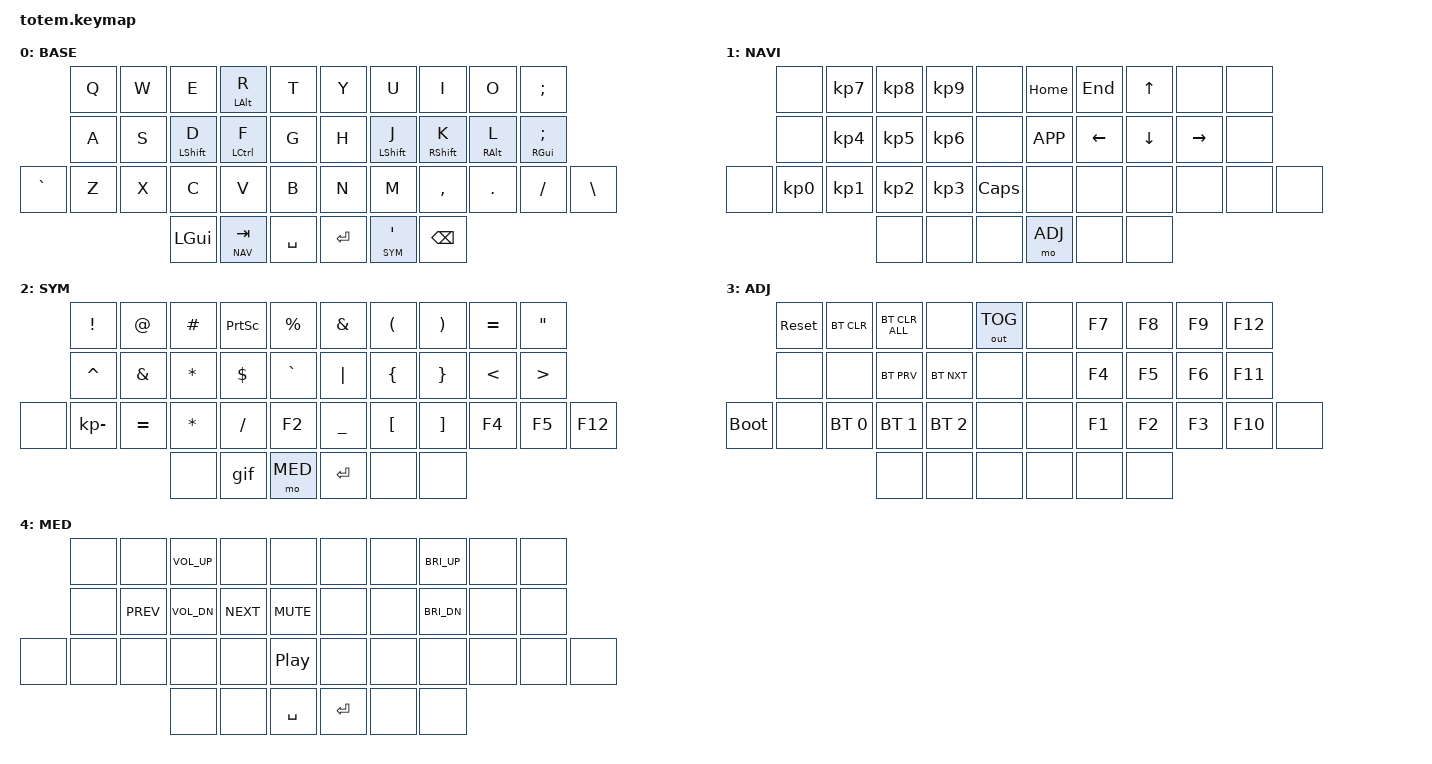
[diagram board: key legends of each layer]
//
//                                                        ▀▀▀▀▀     ▀▀▀▀▀          ▀▀█▀▀
//                                                        ▄▀▀▀▄  ▄  ▄▀▀▀▄  ▄  ▄▀▀▀▄  █  ▄▀▀▀▄
//                                                        █   █  █  █   █  █  █   █  █  █   █
//                                                         ▀▀▀   █   ▀▀▀   █   ▀▀▀   ▀   ▀▀▀
//                                                               █      ▄▄▄█▄▄▄    █   █  
//                                                               ▀      █  █  █     █▄█
//                                                             ▀▀▀▀▀    █  █  █      ▀
//                                                                      ▀  ▀  ▀
//
// ▄▄▄▄▄▄▄▄▄▄▄▄▄▄▄▄▄▄▄▄▄▄▄▄▄▄▄▄▄▄▄▄▄▄▄▄▄▄▄▄▄▄▄▄▄▄▄▄▄▄▄▄▄▄▄▄▄▄▄▄▄▄▄▄▄▄▄▄▄▄▄▄▄▄▄▄▄▄▄▄▄▄▄▄▄▄▄▄▄▄▄▄▄▄▄▄▄▄▄▄▄▄▄▄▄▄▄▄▄▄▄▄▄▄▄▄▄▄▄▄▄▄▄▄▄▄▄▄▄▄▄▄▄▄▄▄▄▄▄▄▄▄▄▄▄▄▄▄▄
       

#include <behaviors.dtsi>
#include <dt-bindings/zmk/keys.h>
#include <dt-bindings/zmk/bt.h>
#include <dt-bindings/zmk/outputs.h>

#define BASE 0
#define NAV  1
#define SYM  2
#define ADJ  3
#define MED  4

&mt {
  quick-tap-ms = <100>;
  global-quick-tap;
  flavor = "tap-preferred";
  tapping-term-ms = <170>;
};

/ {
    combos {
            compatible = "zmk,combos";
            combo_esc {
                timeout-ms = <50>;
                key-positions = <0 1>;
                bindings = <&kp ESC>;
            };
    };

    macros {
        gif: gif {
            label = "giphy";
            compatible = "zmk,behavior-macro";
            #binding-cells = <0>;
            bindings
                = <&macro_press &kp LSHFT>
                , <&macro_tap &kp N2>
                , <&macro_release &kp LSHFT>
                , <&macro_tap &kp G &kp I &kp F>
                ;
        };
    };

        keymap {
                compatible = "zmk,keymap";
// ▄▄▄▄▄▄▄▄▄▄▄▄▄▄▄▄▄▄▄▄▄▄▄▄▄▄▄▄▄▄▄▄▄▄▄▄▄▄▄▄▄▄▄▄▄▄▄▄▄▄▄▄▄▄▄▄▄▄▄▄▄▄▄▄▄▄▄▄▄▄▄▄▄▄▄▄▄▄▄▄▄▄▄▄▄▄▄▄▄▄▄▄▄▄▄▄▄▄▄▄▄▄▄▄▄▄▄▄▄▄▄▄▄▄▄▄▄▄▄▄▄▄▄▄▄▄▄▄▄▄▄▄▄▄▄▄▄▄▄▄▄▄▄▄▄▄▄▄▄

                base_layer {
// ┏━━━━━━━━━━━━━━━━━━━━━━━━━━━━━━━━━━━━━━━┓
label= "BASE"                              ;
// ┗━━━━━━━━━━━━━━━━━━━━━━━━━━━━━━━━━━━━━━━┛
//             ┏━━━━━━━━━━━┳━━━━━━━━━━━┳━━━━━━━━━━━┳━━━━━━━━━━━┳━━━━━━━━━━━┓   ┏━━━━━━━━━━━┳━━━━━━━━━━━┳━━━━━━━━━━━┳━━━━━━━━━━━┳━━━━━━━━━━━┓
//             ┃     Q     ┃     W     ┃     E     ┃     R     ┃     T     ┃   ┃     Y     ┃     U     ┃     I     ┃     O     ┃     P     ┃
//             ┣━━━━━━━━━━━╋━━━━━━━━━━━╋━━━━━━━━━━━╋━━━━━━━━━━━╋━━━━━━━━━━━┫   ┣━━━━━━━━━━━╋━━━━━━━━━━━╋━━━━━━━━━━━╋━━━━━━━━━━━╋━━━━━━━━━━━┫
//             ┃     A     ┃     S     ┃     D     ┃     F     ┃     G     ┃   ┃     H     ┃     J     ┃     K     ┃     L     ┃     ;     ┃
// ┏━━━━━━━━━━━╋━━━━━━━━━━━╋━━━━━━━━━━━╋━━━━━━━━━━━╋━━━━━━━━━━━╋━━━━━━━━━━━┫   ┣━━━━━━━━━━━╋━━━━━━━━━━━╋━━━━━━━━━━━╋━━━━━━━━━━━╋━━━━━━━━━━━╋━━━━━━━━━━━┓
// ┃     `     ┃     Z     ┃     X     ┃     C     ┃     V     ┃     B     ┃   ┃     N     ┃     M     ┃     ,     ┃     .     ┃     /     ┃     \     ┃
// ┗━━━━━━━━━━━┻━━━━━━━━━━━┻━━━━━━━━━━━╋━━━━━━━━━━━╋━━━━━━━━━━━╋━━━━━━━━━━━┫   ┣━━━━━━━━━━━╋━━━━━━━━━━━╋━━━━━━━━━━━╋━━━━━━━━━━━┻━━━━━━━━━━━┻━━━━━━━━━━━┛
//                                     ┃    WIN    ┃    TAB    ┃    SPC    ┃   ┃   ENTER   ┃     '     ┃    BSPC   ┃
//                                     ┗━━━━━━━━━━━┻━━━━━━━━━━━┻━━━━━━━━━━━┛   ┗━━━━━━━━━━━┻━━━━━━━━━━━┻━━━━━━━━━━━┛
 bindings = <
// ╷           ╷           ╷           ╷           ╷           ╷           ╷   ╷           ╷           ╷           ╷           ╷           ╷           ╷

                &kp Q       &kp W       &kp E       &mt LALT R   &kp T           &kp Y       &kp U       &kp I       &kp O       &kp SEMI
                &kp A       &kp S       &mt LSHFT D  &mt LCTRL F  &kp G          &kp H       &mt LSHFT J &mt RSHFT K &mt RALT L  &mt RGUI SEMI
    &kp GRAVE   &kp Z       &kp X       &kp C       &kp V        &kp B           &kp N       &kp M       &kp COMMA   &kp DOT     &kp FSLH    &kp BSLH
                                        &kp LGUI    &lt NAV TAB  &kp SPACE       &kp RET     &lt SYM APOS  &kp BSPC
                        >;
                };

// ▄▄▄▄▄▄▄▄▄▄▄▄▄▄▄▄▄▄▄▄▄▄▄▄▄▄▄▄▄▄▄▄▄▄▄▄▄▄▄▄▄▄▄▄▄▄▄▄▄▄▄▄▄▄▄▄▄▄▄▄▄▄▄▄▄▄▄▄▄▄▄▄▄▄▄▄▄▄▄▄▄▄▄▄▄▄▄▄▄▄▄▄▄▄▄▄▄▄▄▄▄▄▄▄▄▄▄▄▄▄▄▄▄▄▄▄▄▄▄▄▄▄▄▄▄▄▄▄▄▄▄▄▄▄▄▄▄▄▄▄▄▄▄▄▄▄▄▄▄


                nav_layer {
// ┏━━━━━━━━━━━━━━━━━━━━━━━━━━━━━━━━━━━━━━━┓
label= "NAVI"                              ;
// ┗━━━━━━━━━━━━━━━━━━━━━━━━━━━━━━━━━━━━━━━┛
//             ┏━━━━━━━━━━━┳━━━━━━━━━━━┳━━━━━━━━━━━┳━━━━━━━━━━━┳━━━━━━━━━━━┓   ┏━━━━━━━━━━━┳━━━━━━━━━━━┳━━━━━━━━━━━┳━━━━━━━━━━━┳━━━━━━━━━━━┓
//             ┃           ┃     7     ┃      8    ┃     9     ┃           ┃   ┃     HOME  ┃    END    ┃     UP    ┃           ┃           ┃
//             ┣━━━━━━━━━━━╋━━━━━━━━━━━╋━━━━━━━━━━━╋━━━━━━━━━━━╋━━━━━━━━━━━┫   ┣━━━━━━━━━━━╋━━━━━━━━━━━╋━━━━━━━━━━━╋━━━━━━━━━━━╋━━━━━━━━━━━┫
//             ┃           ┃     4     ┃     5     ┃     6     ┃           ┃   ┃    MENU   ┃   LEFT    ┃   DOWN    ┃   RIGHT   ┃           ┃
// ┏━━━━━━━━━━━╋━━━━━━━━━━━╋━━━━━━━━━━━╋━━━━━━━━━━━╋━━━━━━━━━━━╋━━━━━━━━━━━┫   ┣━━━━━━━━━━━╋━━━━━━━━━━━╋━━━━━━━━━━━╋━━━━━━━━━━━╋━━━━━━━━━━━╋━━━━━━━━━━━┓
// ┃           ┃     0     ┃     1     ┃     2     ┃     3     ┃    CAPS   ┃   ┃           ┃           ┃           ┃           ┃           ┃           ┃
// ┗━━━━━━━━━━━┻━━━━━━━━━━━┻━━━━━━━━━━━╋━━━━━━━━━━━╋━━━━━━━━━━━╋━━━━━━━━━━━┫   ┣━━━━━━━━━━━╋━━━━━━━━━━━╋━━━━━━━━━━━╋━━━━━━━━━━━┻━━━━━━━━━━━┻━━━━━━━━━━━┛
//                                     ┃           ┃           ┃           ┃   ┃    ADJ    ┃           ┃           ┃
//                                     ┗━━━━━━━━━━━┻━━━━━━━━━━━┻━━━━━━━━━━━┛   ┗━━━━━━━━━━━┻━━━━━━━━━━━┻━━━━━━━━━━━┛
 bindings = <
// ╷           ╷           ╷           ╷           ╷           ╷           ╷   ╷           ╷           ╷           ╷           ╷           ╷           ╷

                &none     &kp KP_N7   &kp KP_N8    &kp KP_N9   &none        &kp HOME    &kp END     &kp UP     &none       &none
                &none     &kp KP_N4   &kp KP_N5    &kp KP_N6   &none        &kp K_APP   &kp LEFT    &kp DOWN   &kp RIGHT   &none
    &none       &kp KP_N0 &kp KP_N1   &kp KP_N2    &kp KP_N3   &kp CAPS     &none       &none       &none      &none       &none    &none
                                      &none        &none       &none        &mo ADJ     &none       &none
                        >;
                };

// ▄▄▄▄▄▄▄▄▄▄▄▄▄▄▄▄▄▄▄▄▄▄▄▄▄▄▄▄▄▄▄▄▄▄▄▄▄▄▄▄▄▄▄▄▄▄▄▄▄▄▄▄▄▄▄▄▄▄▄▄▄▄▄▄▄▄▄▄▄▄▄▄▄▄▄▄▄▄▄▄▄▄▄▄▄▄▄▄▄▄▄▄▄▄▄▄▄▄▄▄▄▄▄▄▄▄▄▄▄▄▄▄▄▄▄▄▄▄▄▄▄▄▄▄▄▄▄▄▄▄▄▄▄▄▄▄▄▄▄▄▄▄▄▄▄▄▄▄▄


                sym_layer {
// ┏━━━━━━━━━━━━━━━━━━━━━━━━━━━━━━━━━━━━━━━┓
label= "SYM"                               ;
// ┗━━━━━━━━━━━━━━━━━━━━━━━━━━━━━━━━━━━━━━━┛
//             ┏━━━━━━━━━━━┳━━━━━━━━━━━┳━━━━━━━━━━━┳━━━━━━━━━━━┳━━━━━━━━━━━┓   ┏━━━━━━━━━━━┳━━━━━━━━━━━┳━━━━━━━━━━━┳━━━━━━━━━━━┳━━━━━━━━━━━┓
//             ┃     !     ┃     @     ┃     #     ┃   Print   ┃     %     ┃   ┃     &     ┃     (     ┃     )     ┃     =     ┃           ┃
//             ┣━━━━━━━━━━━╋━━━━━━━━━━━╋━━━━━━━━━━━╋━━━━━━━━━━━╋━━━━━━━━━━━┫   ┣━━━━━━━━━━━╋━━━━━━━━━━━╋━━━━━━━━━━━╋━━━━━━━━━━━╋━━━━━━━━━━━┫
//             ┃     ^     ┃     &     ┃     *     ┃     $     ┃     ` ~   ┃   ┃     |     ┃     {     ┃     }     ┃     <     ┃     >     ┃
// ┏━━━━━━━━━━━╋━━━━━━━━━━━╋━━━━━━━━━━━╋━━━━━━━━━━━╋━━━━━━━━━━━╋━━━━━━━━━━━┫   ┣━━━━━━━━━━━╋━━━━━━━━━━━╋━━━━━━━━━━━╋━━━━━━━━━━━╋━━━━━━━━━━━╋━━━━━━━━━━━┓
// ┃           ┃     -     ┃     +     ┃     *     ┃     /     ┃     F2    ┃   ┃     _     ┃     [     ┃     ]     ┃     F4    ┃     F5    ┃     F12   ┃
// ┗━━━━━━━━━━━┻━━━━━━━━━━━┻━━━━━━━━━━━╋━━━━━━━━━━━╋━━━━━━━━━━━╋━━━━━━━━━━━┫   ┣━━━━━━━━━━━╋━━━━━━━━━━━╋━━━━━━━━━━━╋━━━━━━━━━━━┻━━━━━━━━━━━┻━━━━━━━━━━━┛
//                                     ┃           ┃    GIF    ┃    ADJ    ┃   ┃    ENT    ┃           ┃           ┃
//                                     ┗━━━━━━━━━━━┻━━━━━━━━━━━┻━━━━━━━━━━━┛   ┗━━━━━━━━━━━┻━━━━━━━━━━━┻━━━━━━━━━━━┛
 bindings = <
// ╷           ╷           ╷           ╷           ╷           ╷           ╷   ╷           ╷           ╷           ╷           ╷           ╷           ╷

                &kp EXCL    &kp AT      &kp HASH    &kp PSCRN   &kp PRCNT       &kp AMPS    &kp LPAR    &kp RPAR   &kp EQUAL     &kp DQT
                &kp CARET   &kp AMPS    &kp STAR    &kp DLLR    &kp GRAVE       &kp PIPE    &kp LBRC    &kp RBRC   &kp LT        &kp GT 
    &none      &kp KP_MINUS &kp EQUAL   &kp STAR    &kp FSLH    &kp F2          &kp UNDER   &kp LBKT    &kp RBKT   &kp F4        &kp F5     &kp F12
                                        &none       &gif        &mo MED         &kp RET     &none       &none
                        >;
                };

// ▄▄▄▄▄▄▄▄▄▄▄▄▄▄▄▄▄▄▄▄▄▄▄▄▄▄▄▄▄▄▄▄▄▄▄▄▄▄▄▄▄▄▄▄▄▄▄▄▄▄▄▄▄▄▄▄▄▄▄▄▄▄▄▄▄▄▄▄▄▄▄▄▄▄▄▄▄▄▄▄▄▄▄▄▄▄▄▄▄▄▄▄▄▄▄▄▄▄▄▄▄▄▄▄▄▄▄▄▄▄▄▄▄▄▄▄▄▄▄▄▄▄▄▄▄▄▄▄▄▄▄▄▄▄▄▄▄▄▄▄▄▄▄▄▄▄▄▄▄


                adjust_layer {
// ┏━━━━━━━━━━━━━━━━━━━━━━━━━━━━━━━━━━━━━━━┓
label= "ADJ"                               ;
// ┗━━━━━━━━━━━━━━━━━━━━━━━━━━━━━━━━━━━━━━━┛
//             ┏━━━━━━━━━━━┳━━━━━━━━━━━┳━━━━━━━━━━━┳━━━━━━━━━━━┳━━━━━━━━━━━┓   ┏━━━━━━━━━━━┳━━━━━━━━━━━┳━━━━━━━━━━━┳━━━━━━━━━━━┳━━━━━━━━━━━┓
//             ┃   RESET   ┃ BT CLEAR  ┃ BT CLR All┃           ┃  OUT TOG  ┃   ┃           ┃    F7     ┃    F8     ┃    F9     ┃    F12    ┃
//             ┣━━━━━━━━━━━╋━━━━━━━━━━━╋━━━━━━━━━━━╋━━━━━━━━━━━╋━━━━━━━━━━━┫   ┣━━━━━━━━━━━╋━━━━━━━━━━━╋━━━━━━━━━━━╋━━━━━━━━━━━╋━━━━━━━━━━━┫
//             ┃           ┃           ┃  BT PREV  ┃  BT NEXT  ┃           ┃   ┃           ┃    F4     ┃    F5     ┃    F6     ┃    F11    ┃
// ┏━━━━━━━━━━━╋━━━━━━━━━━━╋━━━━━━━━━━━╋━━━━━━━━━━━╋━━━━━━━━━━━╋━━━━━━━━━━━┫   ┣━━━━━━━━━━━╋━━━━━━━━━━━╋━━━━━━━━━━━╋━━━━━━━━━━━╋━━━━━━━━━━━╋━━━━━━━━━━━┓
// ┃ BOOTLOAD  ┃           ┃    BT 0   ┃    BT 1   ┃    BT 2   ┃           ┃   ┃           ┃    F1     ┃    F2     ┃    F3     ┃    F10    ┃           ┃
// ┗━━━━━━━━━━━┻━━━━━━━━━━━┻━━━━━━━━━━━╋━━━━━━━━━━━╋━━━━━━━━━━━╋━━━━━━━━━━━┫   ┣━━━━━━━━━━━╋━━━━━━━━━━━╋━━━━━━━━━━━╋━━━━━━━━━━━┻━━━━━━━━━━━┻━━━━━━━━━━━┛
//                                     ┃           ┃           ┃           ┃   ┃           ┃           ┃           ┃
//                                     ┗━━━━━━━━━━━┻━━━━━━━━━━━┻━━━━━━━━━━━┛   ┗━━━━━━━━━━━┻━━━━━━━━━━━┻━━━━━━━━━━━┛
 bindings = <
// ╷           ╷           ╷           ╷           ╷           ╷           ╷   ╷           ╷           ╷           ╷           ╷           ╷           ╷

                &sys_reset  &bt BT_CLR  &bt BT_CLR_ALL  &none    &out OUT_TOG    &none       &kp F7      &kp F8      &kp F9      &kp F12
                &none      &none       &bt BT_PRV  &bt BT_NXT   &none           &none       &kp F4      &kp F5      &kp F6      &kp F11
    &bootloader &none     &bt BT_SEL 0  &bt BT_SEL 1  &bt BT_SEL 2  &none        &none       &kp F1      &kp F2      &kp F3      &kp F10     &none
                                        &none       &none        &none           &none       &none      &none
                        >;
                }; 

                        media_layer {
// ┏━━━━━━━━━━━━━━━━━━━━━━━━━━━━━━━━━━━━━━━┓
label= "MED"                               ;
// ┗━━━━━━━━━━━━━━━━━━━━━━━━━━━━━━━━━━━━━━━┛
//             ┏━━━━━━━━━━━┳━━━━━━━━━━━┳━━━━━━━━━━━┳━━━━━━━━━━━┳━━━━━━━━━━━┓   ┏━━━━━━━━━━━┳━━━━━━━━━━━┳━━━━━━━━━━━┳━━━━━━━━━━━┳━━━━━━━━━━━┓
//             ┃           ┃           ┃   VOL +   ┃           ┃           ┃   ┃           ┃           ┃ bright +  ┃           ┃           ┃
//             ┣━━━━━━━━━━━╋━━━━━━━━━━━╋━━━━━━━━━━━╋━━━━━━━━━━━╋━━━━━━━━━━━┫   ┣━━━━━━━━━━━╋━━━━━━━━━━━╋━━━━━━━━━━━╋━━━━━━━━━━━╋━━━━━━━━━━━┫
//             ┃           ┃   prev    ┃   VOL -   ┃    next   ┃   mute    ┃   ┃           ┃           ┃ bright -  ┃           ┃           ┃
// ┏━━━━━━━━━━━╋━━━━━━━━━━━╋━━━━━━━━━━━╋━━━━━━━━━━━╋━━━━━━━━━━━╋━━━━━━━━━━━┫   ┣━━━━━━━━━━━╋━━━━━━━━━━━╋━━━━━━━━━━━╋━━━━━━━━━━━╋━━━━━━━━━━━╋━━━━━━━━━━━┓
// ┃           ┃           ┃           ┃           ┃           ┃   play    ┃   ┃           ┃           ┃           ┃           ┃           ┃           ┃
// ┗━━━━━━━━━━━┻━━━━━━━━━━━┻━━━━━━━━━━━╋━━━━━━━━━━━╋━━━━━━━━━━━╋━━━━━━━━━━━┫   ┣━━━━━━━━━━━╋━━━━━━━━━━━╋━━━━━━━━━━━╋━━━━━━━━━━━┻━━━━━━━━━━━┻━━━━━━━━━━━┛
//                                     ┃           ┃           ┃   space   ┃   ┃   enter   ┃           ┃           ┃
//                                     ┗━━━━━━━━━━━┻━━━━━━━━━━━┻━━━━━━━━━━━┛   ┗━━━━━━━━━━━┻━━━━━━━━━━━┻━━━━━━━━━━━┛
 bindings = <
// ╷           ╷           ╷           ╷           ╷           ╷           ╷   ╷           ╷           ╷           ╷           ╷           ╷           ╷

                &none       &none       &kp C_VOL_UP &none        &none           &none       &none     &kp C_BRI_UP  &none       &none
                &none       &kp C_PREV  &kp C_VOL_DN &kp C_NEXT   &kp C_MUTE      &none       &none     &kp C_BRI_DN  &none       &none  
    &none       &none       &none       &none      &none        &kp C_PP          &none       &none       &none       &none       &none        &none
                                        &none      &none        &kp SPACE         &kp RET     &none       &none
                        >;
                };
        };
};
